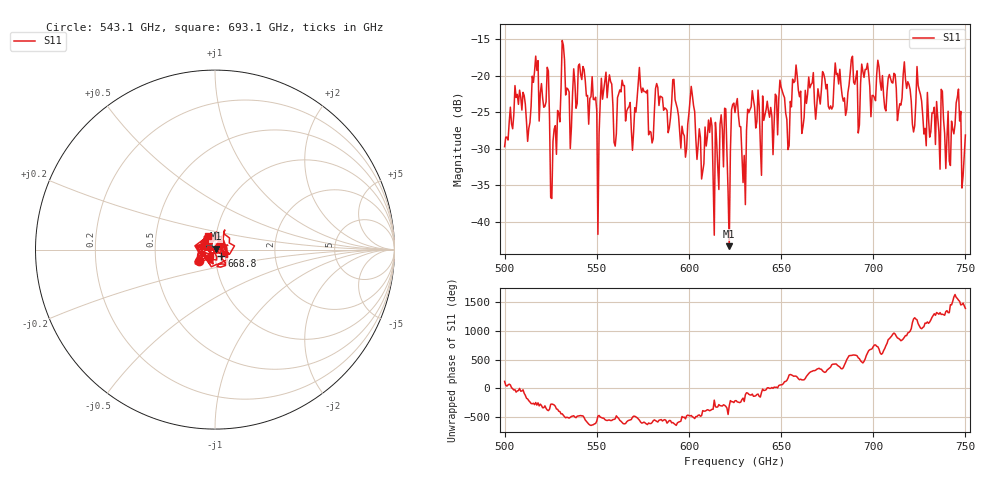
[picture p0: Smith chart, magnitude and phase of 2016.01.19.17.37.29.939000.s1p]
!Created with skrf (http://scikit-rf.org).
# GHz S RI R 50.0
!freq ReS11 ImS11
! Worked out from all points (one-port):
!   401 points, 500 GHz to 750 GHz, reference 50 ohm
!   lowest |S11| = -43.3 dB at 621.9 GHz (marker M1), VSWR 1.01, Z = 50.4 + j0.569 ohm
!   |S11| at or under -10 dB: start of sweep to end of sweep
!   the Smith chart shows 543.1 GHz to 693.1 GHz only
!   S11 on the Smith chart (normalised r, x): 543.1 GHz: 0.83, -0.11; 668.8 GHz: 1.07, -0.08; 693.1 GHz: 0.91, +0.14
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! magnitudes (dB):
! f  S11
! 500 GHz  -29.7
! 506.9 GHz  -22.6
! 513.1 GHz  -27.2
! 516.9 GHz  -17.3
! 523.1 GHz  -18.9
! 526.2 GHz  -29.0
! 531.2 GHz  -15.2
! 535.6 GHz  -30.0
! 543.1 GHz  -19.2
! 550.6 GHz  -41.7
! 553.8 GHz  -22.0
! 560 GHz  -29.6
! 562.5 GHz  -22.0
! 593.8 GHz  -24.5
! 615 GHz  -28.9
! 618.8 GHz  -32.5
! 621.9 GHz  -43.3
! 625 GHz  -25.1
! 630 GHz  -30.9
! 633.8 GHz  -24.3
! 656.2 GHz  -20.5
! 668.8 GHz  -26.0
! 687.5 GHz  -19.6
! 693.1 GHz  -21.1
! 718.8 GHz  -20.8
! 740.6 GHz  -24.9
! 746.2 GHz  -21.8
! 750 GHz  -28.1
